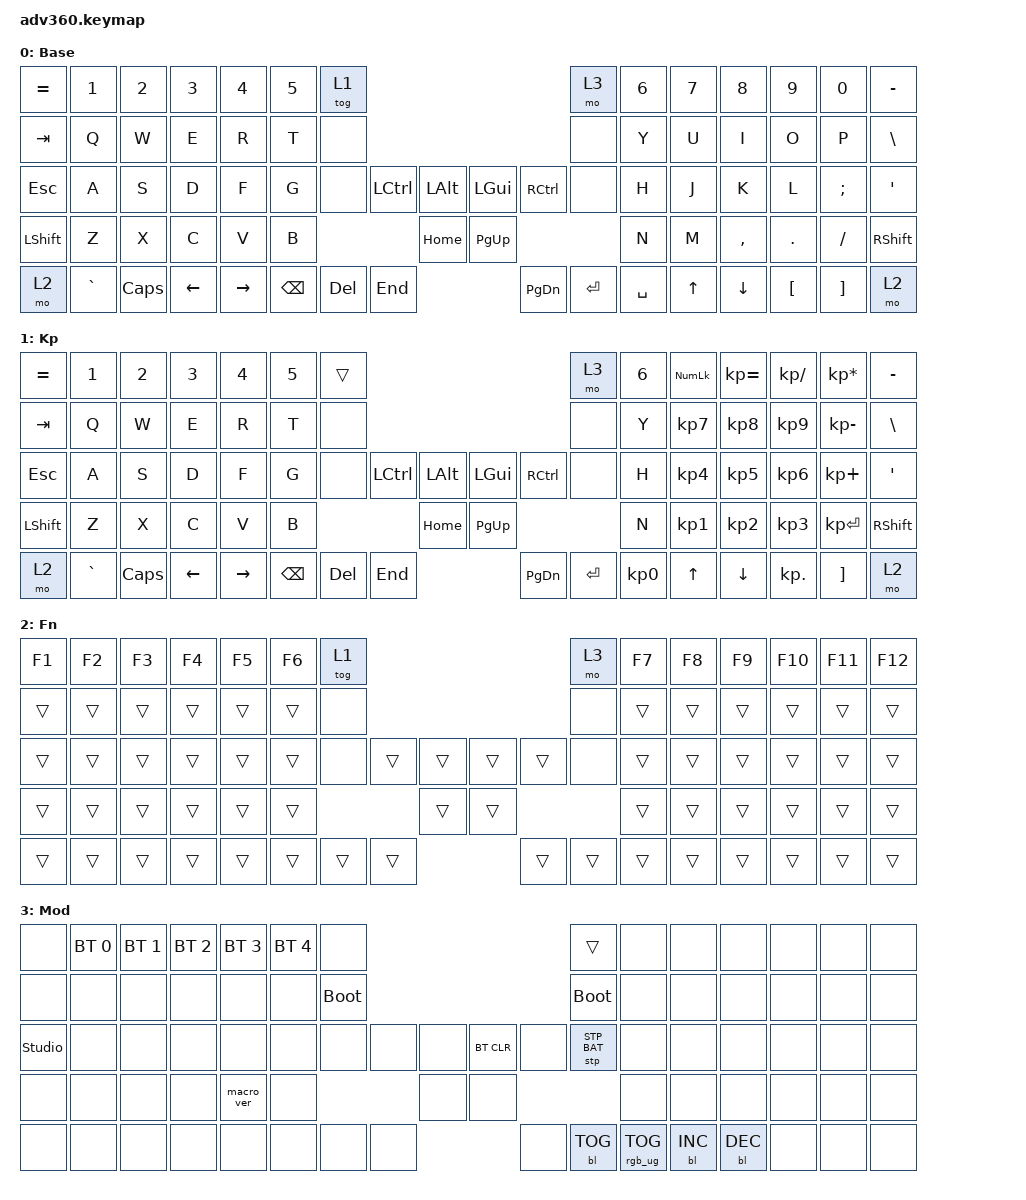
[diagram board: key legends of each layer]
#include <behaviors.dtsi>
#include <dt-bindings/zmk/keys.h>
#include <dt-bindings/zmk/bt.h>
#include <dt-bindings/zmk/rgb.h>
#include <dt-bindings/zmk/stp.h>
#include <dt-bindings/zmk/backlight.h>
#include <dt-bindings/zmk/pointing.h>

/ {
    behaviors {
      #include "macros.dtsi"
      #include "version.dtsi"
      #ifndef VERSION_MACRO
      macro_ver: macro_ver {
        compatible = "zmk,behavior-macro";
        label = "macro_version";
        #binding-cells = <0>;
        bindings = <&kp RET>;
      };
      #endif

      hm: homerow_mods {
          compatible = "zmk,behavior-hold-tap";
          label = "HOMEROW_MODS";
          #binding-cells = <2>;
          tapping-term-ms = <200>;
          quick_tap_ms = <175>;
          flavor = "tap-preferred";
          bindings = <&kp>, <&kp>;
      };

      hml: hml {
            compatible = "zmk,behavior-hold-tap";
            label = "HML";
            bindings = <&kp>, <&kp>;

            #binding-cells = <2>;
            flavor = "balanced";
            tapping-term-ms = <280>;
            quick-tap-ms = <175>;
            require-prior-idle-ms = <150>;
            hold-trigger-on-release;
            hold-trigger-key-positions = <7 21 39 40 54 71 55 22 23 41 72 56 42 24 8 9 10 11 25 43 57 73 74 75 59 58 44 45 27 26 12 13 70 69 68 53 37 38 36 35 52 66 67 65>;
        };

        hmr: hmr {
            compatible = "zmk,behavior-hold-tap";
            label = "HMR";
            bindings = <&kp>, <&kp>;

            #binding-cells = <2>;
            tapping-term-ms = <280>;
            quick-tap-ms = <175>;
            require-prior-idle-ms = <150>;
            flavor = "balanced";
            hold-trigger-key-positions = <0 1 2 3 4 5 6 14 15 16 17 18 19 20 28 29 30 31 32 33 34 35 46 47 48 49 50 51 60 61 62 63 64 66 35 36 52 66 67 53 68 69 70 37 38 65>;
            hold-trigger-on-release;
        };

        comma_quest: comma_quest {
            compatible = "zmk,behavior-mod-morph";
            label = "COMMA_QUEST";
            bindings = <&kp COMMA>, <&kp QUESTION>;

            #binding-cells = <0>;
            mods = <(MOD_LSFT|MOD_RSFT)>;
        };

        dot_excl: dot_excl {
            compatible = "zmk,behavior-mod-morph";
            label = "DOT_EXCL";
            bindings = <&kp DOT>, <&kp EXCLAMATION>;

            #binding-cells = <0>;
            mods = <(MOD_LSFT|MOD_RSFT)>;
        };

        polish_e: polish_e {
            compatible = "zmk,behavior-mod-morph";
            label = "POLISH_E";
            bindings = <&kp T>, <&kp RA(E)>;

            #binding-cells = <0>;
            mods = <(MOD_RALT)>;
        };

        polish_l: polish_l {
            compatible = "zmk,behavior-mod-morph";
            label = "POLISH_L";
            bindings = <&kp R>, <&kp RA(L)>;

            #binding-cells = <0>;
            mods = <(MOD_RALT)>;
        };

        polish_o: polish_o {
            compatible = "zmk,behavior-mod-morph";
            label = "POLISH_O";
            bindings = <&kp D>, <&kp RA(O)>;

            #binding-cells = <0>;
            mods = <(MOD_RALT)>;
        };

        polish_n: polish_n {
            compatible = "zmk,behavior-mod-morph";
            label = "POLISH_N";
            bindings = <&kp F>, <&kp RA(N)>;

            #binding-cells = <0>;
            mods = <(MOD_RALT)>;
        };
    };

  keymap {
    compatible = "zmk,keymap";

    default_layer {
      display-name = "Base";
      bindings = <
        &kp EQUAL &kp N1    &kp N2   &kp N3   &kp N4     &kp N5 &tog 1                                                           &mo 3 &kp N6 &kp N7 &kp N8    &kp N9   &kp N0   &kp MINUS
        &kp TAB   &kp Q     &kp W    &kp E    &kp R      &kp T  &none                                                            &none &kp Y  &kp U  &kp I     &kp O    &kp P    &kp BSLH
        &kp ESC   &kp A     &kp S    &kp D    &kp F      &kp G  &none           &kp LCTRL &kp LALT &kp LGUI  &kp RCTRL           &none &kp H  &kp J  &kp K     &kp L    &kp SEMI &kp SQT
        &kp LSHFT &kp Z     &kp X    &kp C    &kp V      &kp B                            &kp HOME &kp PG_UP                           &kp N  &kp M  &kp COMMA &kp DOT  &kp FSLH &kp RSHFT
        &mo 2     &kp GRAVE &kp CAPS &kp LEFT &kp RIGHT                &kp BSPC &kp DEL   &kp END  &kp PG_DN &kp ENTER &kp SPACE              &kp UP &kp DOWN  &kp LBKT &kp RBKT &mo 2
      >;
    };
    keypad {
      display-name = "Kp";
      bindings = <
        &kp EQUAL &kp N1    &kp N2   &kp N3   &kp N4     &kp N5 &trans                                                           &mo 3 &kp N6 &kp KP_NUM &kp KP_EQUAL &kp KP_DIVIDE &kp KP_MULTIPLY &kp MINUS
        &kp TAB   &kp Q     &kp W    &kp E    &kp R      &kp T  &none                                                            &none &kp Y  &kp KP_N7  &kp KP_N8    &kp KP_N9     &kp KP_MINUS    &kp BSLH
        &kp ESC   &kp A     &kp S    &kp D    &kp F      &kp G  &none           &kp LCTRL &kp LALT &kp LGUI  &kp RCTRL           &none &kp H  &kp KP_N4  &kp KP_N5    &kp KP_N6     &kp KP_PLUS     &kp SQT
        &kp LSHFT &kp Z     &kp X    &kp C    &kp V      &kp B                            &kp HOME &kp PG_UP                           &kp N  &kp KP_N1  &kp KP_N2    &kp KP_N3     &kp KP_ENTER    &kp RSHFT
        &mo 2     &kp GRAVE &kp CAPS &kp LEFT &kp RIGHT                &kp BSPC &kp DEL   &kp END  &kp PG_DN &kp ENTER &kp KP_N0              &kp UP     &kp DOWN     &kp KP_DOT    &kp RBKT        &mo 2
      >;
    };
    fn {
      display-name = "Fn";
      bindings = <
        &kp F1 &kp F2 &kp F3 &kp F4 &kp F5 &kp F6 &tog 1                                           &mo 3 &kp F7 &kp F8 &kp F9 &kp F10 &kp F11 &kp F12
        &trans &trans &trans &trans &trans &trans  &none                                           &none &trans &trans &trans &trans  &trans  &trans
        &trans &trans &trans &trans &trans &trans  &none        &trans &trans &trans &trans        &none &trans &trans &trans &trans  &trans  &trans
        &trans &trans &trans &trans &trans &trans                      &trans &trans                     &trans &trans &trans &trans  &trans  &trans
        &trans &trans &trans &trans &trans               &trans &trans &trans &trans &trans &trans              &trans &trans &trans  &trans  &trans
      >;
    };
    mod {
      display-name = "Mod";
      bindings = <
        &none &bt BT_SEL 0 &bt BT_SEL 1 &bt BT_SEL 2 &bt BT_SEL 3 &bt BT_SEL 4 &none                                                                     &trans                 &none        &none        &none        &none &none &none
        &none &none        &none        &none        &none        &none        &bootloader                                                               &bootloader            &none        &none        &none        &none &none &none
        &studio_unlock &none        &none        &none        &none        &none        &none                   &none &none &bt BT_CLR &none                      &stp STP_BAT &none        &none        &none        &none &none &none
        &none &none        &none        &none        &macro_ver   &none                                      &none &none                                                        &none        &none        &none        &none &none &none
        &none &none        &none        &none        &none                                       &none &none &none &none      &bl BL_TOG &rgb_ug RGB_TOG                                     &bl BL_INC   &bl BL_DEC   &none &none &none
      >;
    };
    extra1 { 
      display-name = "Red";    
      status = "reserved";
    };

    extra2 { 
      display-name = "Purple";    
      status = "reserved";
    };

    extra3 { 
      display-name = "Cyan";    
      status = "reserved";
    };

    extra4 { 
      display-name = "Yellow";    
      status = "reserved";
    };
  };
};
